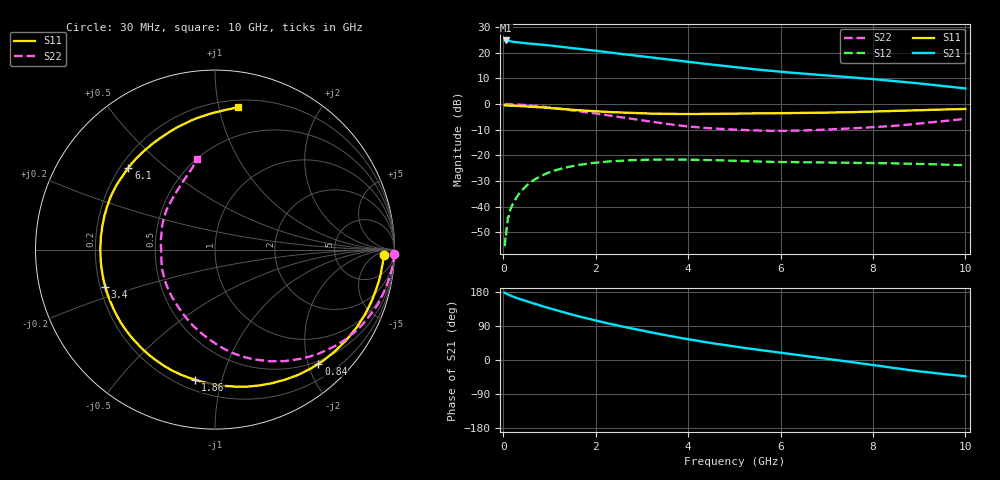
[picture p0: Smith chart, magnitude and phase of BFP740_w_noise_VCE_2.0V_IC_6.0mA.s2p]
! Infineon Technologies  Discrete & RF Semiconductors
! BFP740
! VCE =  2.0 V,  IC =  6.0 mA
! Common Emitter S-Parameters:  Jan 2016
# GHz  S  MA  R  50
!  f  S11  S21  S12  S22
! GHz  MAG  ANG  MAG  ANG  MAG  ANG  MAG  ANG
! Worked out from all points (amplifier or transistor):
!   229 points, 30 MHz to 10 GHz, reference 50 ohm
!   highest |S21| = 24.8 dB at 50 MHz (marker M1)
!   |S21| within 3 dB of that: start of sweep to 1.499 GHz
!   unconditionally stable (mu >= 1): 7.659 GHz to end of sweep
!   at 280 MHz: K = 0.10, MSG = 30.4 dB, |S12| = -36.7 dB
!   at 1.78 GHz: K = 0.25, MSG = 22.3 dB, |S12| = -23.3 dB
!   at 10 GHz: K = 1.15, MAG = 12.6 dB, |S12| = -23.8 dB
!   lowest NFmin = 0.45 dB at 450 MHz
!   S11 on the Smith chart (normalised r, x): 30 MHz: 26, -13; 840 MHz: 0.45, -2.18; 1.86 GHz: 0.26, -0.82; 3.4 GHz: 0.22, -0.16; 6.1 GHz: 0.23, +0.38; 10 GHz: 0.26, +1.14
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0.03  0.9408 -1.8  17.25 177.3  0.0017 65.9  0.9987 -1.3
0.05  0.9403 -3.0  17.32 176.2  0.0028 97.5  0.9975 -2.2
0.13  0.9336 -7.9  16.9 171.1  0.0075 82.0  0.9928 -5.6
0.2  0.928 -12.0  16.37 167.7  0.0109 84.5  0.9863 -8.4
0.34  0.9153 -20.0  15.8 161.7  0.0178 78.6  0.9708 -14.0
0.6  0.8889 -34.5  14.95 151.6  0.0302 68.7  0.9347 -23.8
0.84  0.8579 -47.8  14.35 142.4  0.0405 60.6  0.8919 -32.7
1.2  0.8095 -66.8  13.22 129.3  0.0534 49.3  0.8162 -45.4
1.6  0.7599 -86.7  12.05 116.2  0.0643 39.1  0.7345 -57.7
1.7  0.7489 -91.3  11.74 113.2  0.0662 36.6  0.7123 -60.7
1.86  0.7334 -98.8  11.29 108.4  0.0696 32.9  0.6806 -65.5
2.14  0.7107 -111.5  10.52 100.1  0.0741 26.8  0.6269 -73.8
2.58  0.6797 -129.8  9.413 88.3  0.0787 18.4  0.5479 -85.8
3  0.6583 -146.4  8.496 77.7  0.0814 11.2  0.4794 -97.7
3.4  0.6454 -161.3  7.719 68.1  0.0827 5.1  0.4261 -109.5
4.1  0.6384 176.2  6.491 52.8  0.0823 -4.2  0.3588 -131.1
5.1  0.6516 152.4  5.115 33.9  0.078 -13.7  0.3153 -158.2
6.1  0.6646 136.6  4.179 17.7  0.0741 -19.1  0.3008 178.4
6.8  0.6767 126.2  3.718 6.5  0.0727 -22.4  0.3118 162.9
8.4  0.7307 100.7  2.842 -20.1  0.0699 -30.4  0.3721 129.0
9  0.759 91.6  2.52 -29.9  0.0682 -33.1  0.4171 115.7
10  0.8021 81.0  2.014 -43.0  0.0643 -35.0  0.514 101.1
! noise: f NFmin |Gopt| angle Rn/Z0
0.45  0.45  0.36  10  0.21
0.9  0.46  0.37  17  0.2
1.5  0.49  0.35  25  0.19
1.9  0.52  0.34  42  0.19
2.4  0.55  0.34  46  0.18
3.5  0.65  0.31  66  0.17
5.5  0.86  0.22  171  0.15
10  1.45  0.54  -80  0.2
